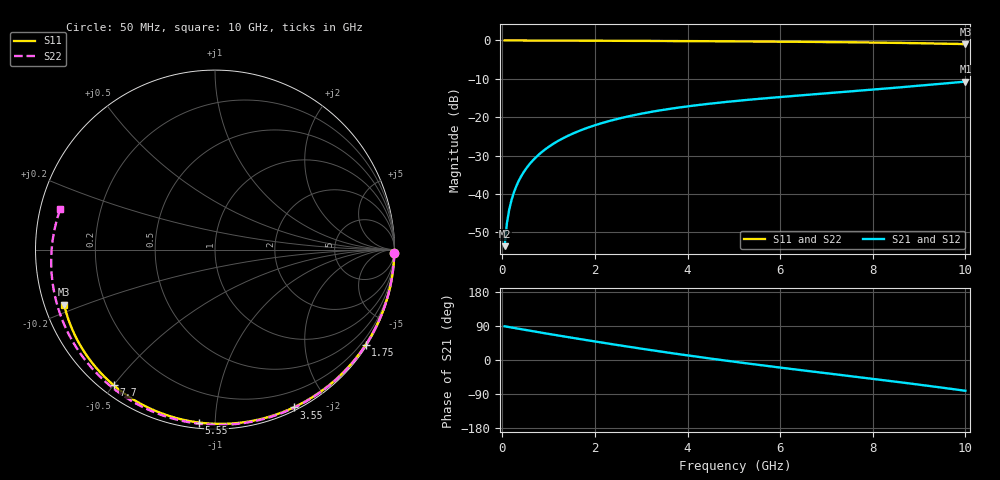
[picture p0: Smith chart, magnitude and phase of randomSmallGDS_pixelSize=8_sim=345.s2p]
! freq	dB(S11)	phase(S11)	dB(S12)	phase(S12)
!  dB(S21)	phase(S21)	dB(S22)	phase(S22)
!S-par simulation data
#  GHz  S  DB  R 50
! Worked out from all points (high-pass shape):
!   200 points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, 50 MHz to 10 GHz, reference 50 ohm
!   highest |S21| = -10.72 dB at 10 GHz (marker M1); lowest = -53.6 dB at 50 MHz (marker M2)
!   |S21| within 3 dB of the highest: 7.059 GHz to end of sweep
!   lowest |S11| = -1.0 dB at 10 GHz (marker M3), VSWR 18.02, Z = 2.86 - j8.81 ohm
!   |S11| at or under -10 dB: nowhere
!   |S22| runs from -1.0 to 0.0 dB; largest |S21 - S12| = 0
!   S11 on the Smith chart (normalised r, x): 50 MHz: open; 1.75 GHz: 0.05, -3.45; 3.55 GHz: 0.03, -1.62; 5.55 GHz: 0.03, -0.91; 7.7 GHz: 0.04, -0.50; 10 GHz: 0.06, -0.18
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0.05  -0.01 -0.9  -53.57 88.9  -53.57 88.9  -0.01 -1.1
0.1  -0.01 -1.9  -47.55 87.9  -47.55 87.9  -0.01 -2.3
0.15  -0.01 -2.8  -44.03 86.8  -44.03 86.8  -0.01 -3.5
0.2  -0.01 -3.7  -41.53 85.7  -41.53 85.7  -0.01 -4.6
0.25  -0.01 -4.7  -39.60 84.6  -39.60 84.6  -0.01 -5.8
0.35  -0.01 -6.5  -36.69 82.5  -36.69 82.5  -0.02 -8.1
0.5  -0.02 -9.3  -33.61 79.3  -33.61 79.3  -0.02 -11.5
0.7  -0.02 -13.1  -30.74 75.1  -30.74 75.1  -0.02 -16.1
1  -0.03 -18.6  -27.72 68.9  -27.72 68.9  -0.04 -23.0
1.35  -0.04 -25.0  -25.23 61.8  -25.23 61.8  -0.05 -30.8
1.75  -0.06 -32.3  -23.13 53.8  -23.13 53.8  -0.07 -39.7
2.6  -0.10 -47.3  -20.10 37.4  -20.10 37.4  -0.11 -58.0
3.4  -0.14 -61.0  -18.22 22.7  -18.22 22.7  -0.16 -74.4
3.55  -0.15 -63.5  -17.94 20.0  -17.94 20.0  -0.17 -77.4
4.3  -0.20 -75.7  -16.72 7.1  -16.72 7.1  -0.22 -92.0
5.05  -0.25 -87.6  -15.76 -5.2  -15.76 -5.2  -0.27 -105.9
5.55  -0.28 -95.2  -15.20 -13.1  -15.20 -13.1  -0.31 -115.0
6.7  -0.39 -112.3  -14.06 -30.5  -14.06 -30.5  -0.42 -135.2
7.7  -0.51 -126.7  -13.10 -45.3  -13.10 -45.3  -0.55 -152.6
8.35  -0.61 -136.0  -12.46 -55.0  -12.46 -55.0  -0.65 -164.0
9.2  -0.77 -148.3  -11.58 -68.2  -11.58 -68.2  -0.81 -179.5
10  -0.97 -160.0  -10.72 -81.2  -10.72 -81.2  -1.00 165.3
